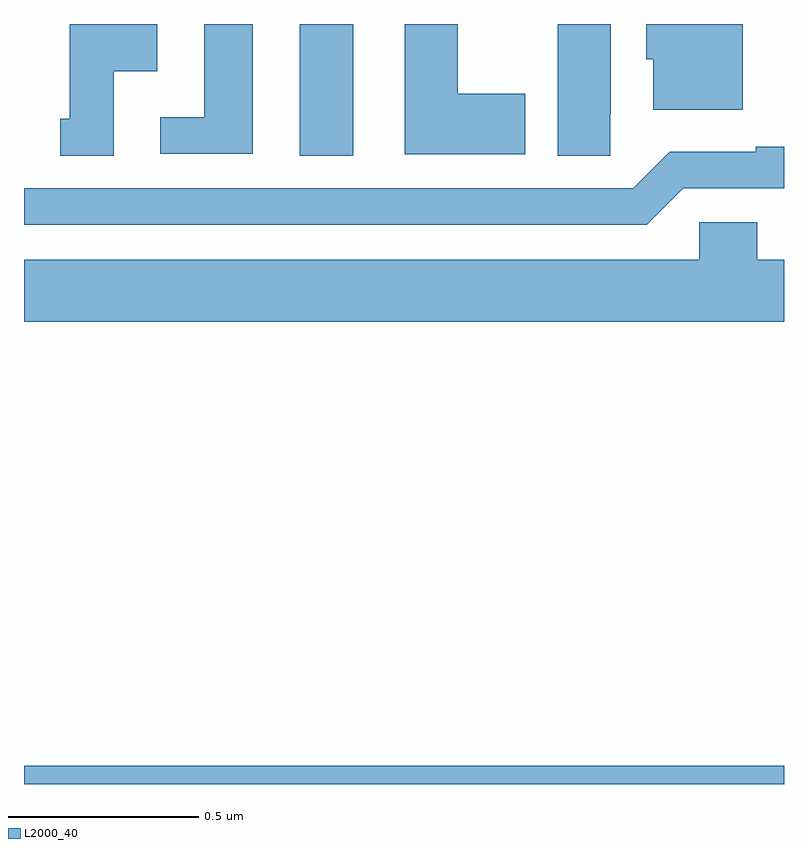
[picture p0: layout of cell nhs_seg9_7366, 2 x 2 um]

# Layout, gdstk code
import gdstk
lib = gdstk.Library(unit=1e-6, precision=1e-09)
def R(c, l, rs):  # rectangles x0, y0, x1, y1
    for r in rs: c.add(gdstk.rectangle(r[:2], r[2:], *l))
def P(c, l, *ps):  # polygons
    for p in ps: c.add(gdstk.Polygon(p, *l))
L2000_40 = (2000, 40)

nhs_seg9_7366 = lib.new_cell('nhs_seg9_7366')
R(nhs_seg9_7366, L2000_40, [(203,1232.5,205,1232.548), (203.726,1234.153,203.866,1234.5)])
P(nhs_seg9_7366, L2000_40, [(204.319,1234.317),(204.142,1234.317),(204.142,1234.5),(204.002,1234.5),(204.002,1234.157),(204.319,1234.157)],
  [(204.892,1234.5),(204.638,1234.5),(204.638,1234.407),(204.656,1234.407),(204.656,1234.274),(204.892,1234.274)],
  [(203.602,1234.5),(203.474,1234.5),(203.474,1234.254),(203.358,1234.254),(203.358,1234.158),(203.602,1234.158)],
  [(204.543,1234.264),(204.544,1234.264),(204.544,1234.5),(204.404,1234.5),(204.404,1234.153),(204.543,1234.153)],
  [(203.236,1234.376),(203.35,1234.376),(203.35,1234.5),(203.12,1234.5),(203.12,1234.251),(203.096,1234.251),(203.096,1234.153),(203.236,1234.153)],
  [(204.735,1234.068),(205,1234.068),(205,1234.177),(204.926,1234.177),(204.926,1234.164),(204.699,1234.164),(204.603,1234.068),(203,1234.068),(203,1233.972),(204.639,1233.972)],
  [(205,1233.88),(204.929,1233.88),(204.929,1233.978),(204.777,1233.978),(204.777,1233.88),(203,1233.88),(203,1233.716),(205,1233.716)])

lib.write_gds('nhs_seg9_7366.gds')
